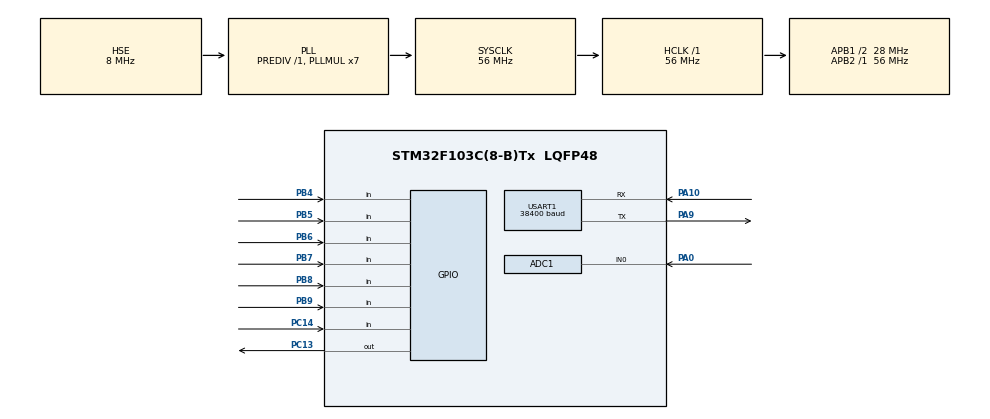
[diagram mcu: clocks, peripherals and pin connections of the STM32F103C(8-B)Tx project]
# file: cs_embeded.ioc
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ADC1.Channel-0\#ChannelRegularConversion=ADC_CHANNEL_0
ADC1.ContinuousConvMode=DISABLE
ADC1.EnableInjectedConversion=ENABLE
ADC1.InjNumberOfConversion=0
ADC1.NbrOfConversionFlag=1
ADC1.Rank-0\#ChannelRegularConversion=1
ADC1.SamplingTime-0\#ChannelRegularConversion=ADC_SAMPLETIME_55CYCLES_5
ADC1.master=1
Dma.Request0=USART1_RX
Dma.Request1=USART1_TX
Dma.USART1_RX.0.Direction=DMA_PERIPH_TO_MEMORY
Dma.USART1_RX.0.Instance=DMA1_Channel5
Dma.USART1_RX.0.MemDataAlignment=DMA_MDATAALIGN_BYTE
Dma.USART1_RX.0.MemInc=DMA_MINC_ENABLE
Dma.USART1_RX.0.Mode=DMA_NORMAL
Dma.USART1_RX.0.PeriphDataAlignment=DMA_PDATAALIGN_BYTE
Dma.USART1_RX.0.PeriphInc=DMA_PINC_DISABLE
Dma.USART1_RX.0.Priority=DMA_PRIORITY_LOW
Dma.USART1_TX.1.Direction=DMA_MEMORY_TO_PERIPH
Dma.USART1_TX.1.Instance=DMA1_Channel4
Dma.USART1_TX.1.MemDataAlignment=DMA_MDATAALIGN_BYTE
Dma.USART1_TX.1.MemInc=DMA_MINC_ENABLE
Dma.USART1_TX.1.Mode=DMA_NORMAL
Dma.USART1_TX.1.PeriphDataAlignment=DMA_PDATAALIGN_BYTE
Dma.USART1_TX.1.PeriphInc=DMA_PINC_DISABLE
Dma.USART1_TX.1.Priority=DMA_PRIORITY_LOW
Mcu.Family=STM32F1
Mcu.Name=STM32F103C(8-B)Tx
Mcu.Package=LQFP48
NVIC.DMA1_Channel4_IRQn=true\:0\:0\:false\:false\:true\:false\:true
NVIC.DMA1_Channel5_IRQn=true\:0\:0\:false\:false\:true\:false\:true
NVIC.PriorityGroup=NVIC_PRIORITYGROUP_4
NVIC.TIM3_IRQn=true\:0\:0\:false\:false\:true\:true\:true
NVIC.TIM4_IRQn=true\:0\:0\:false\:false\:true\:false\:true
NVIC.TimeBase=TIM4_IRQn
NVIC.TimeBaseIP=TIM4
NVIC.USART1_IRQn=true\:0\:0\:false\:false\:true\:true\:true
PA0-WKUP.Signal=ADCx_IN0
PA10.Mode=Asynchronous
PA10.Signal=USART1_RX
PA13.Mode=Serial_Wire
PA13.Signal=SYS_JTMS-SWDIO
PA14.Mode=Serial_Wire
PA14.Signal=SYS_JTCK-SWCLK
PA9.Mode=Asynchronous
PA9.Signal=USART1_TX
PB4.Signal=GPIO_Input
PB5.Signal=GPIO_Input
PB6.Signal=GPIO_Input
PB7.Signal=GPIO_Input
PB8.Signal=GPIO_Input
PB9.Signal=GPIO_Input
PC13-TAMPER-RTC.Signal=GPIO_Output
PC14-OSC32_IN.Signal=GPIO_Input
PD0-OSC_IN.Mode=HSE-External-Oscillator
PD0-OSC_IN.Signal=RCC_OSC_IN
PD1-OSC_OUT.Mode=HSE-External-Oscillator
PD1-OSC_OUT.Signal=RCC_OSC_OUT
ProjectManager.HeapSize=0x800
ProjectManager.StackSize=0x800
ProjectManager.TargetToolchain=MDK-ARM V5.27
RCC.ADCPresc=RCC_ADCPCLK2_DIV4
RCC.AHBFreq_Value=56000000
RCC.APB1CLKDivider=RCC_HCLK_DIV2
RCC.APB1Freq_Value=28000000
RCC.APB1TimFreq_Value=56000000
RCC.APB2Freq_Value=56000000
RCC.APB2TimFreq_Value=56000000
RCC.HCLKFreq_Value=56000000
RCC.PLLMUL=RCC_PLL_MUL7
RCC.PLLSourceVirtual=RCC_PLLSOURCE_HSE
RCC.SYSCLKFreq_VALUE=56000000
RCC.SYSCLKSource=RCC_SYSCLKSOURCE_PLLCLK
RCC.USBFreq_Value=56000000
SH.ADCx_IN0.0=ADC1_IN0,IN0
TIM3.Period=65535
TIM3.Prescaler=71
USART1.BaudRate=38400
USART1.VirtualMode=VM_ASYNC
VP_SYS_VS_tim4.Mode=TIM4
VP_TIM3_VS_ClockSourceINT.Mode=Internal
board=custom

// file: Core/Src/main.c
/* USER CODE BEGIN Header */
/**
  ******************************************************************************
  * @file           : main.c
  * @brief          : Main program body
  ******************************************************************************
  * @attention
  *
  * <h2><center>&copy; Copyright (c) 2021 STMicroelectronics.
  * All rights reserved.</center></h2>
  *
  * This software component is licensed by ST under Ultimate Liberty license
  * SLA0044, the "License"; You may not use this file except in compliance with
  * the License. You may obtain a copy of the License at:
  *                             www.st.com/SLA0044
  *
  ******************************************************************************
  */
/* USER CODE END Header */

#include "main.h"
#include "adc.h"
#include "dma.h"
#include "tim.h"
#include "usart.h"
#include "gpio.h"

/* USER CODE BEGIN Includes */
#include "System_Config.h"
#include "drv_timer.h"
#include "drv_imu.h"
#include "drv_iic.h"
#include "inv_mpu.h"
#include <stdio.h>
#include "string.h"
#include "mahony_ahrs.h"
/* USER CODE END Includes */

/* USER CODE BEGIN PTD */
#ifdef __GNUC__
/* With GCC/RAISONANCE, small printf (option LD Linker->Libraries->Small printf
set to 'Yes') calls __io_putchar() */
#define PUTCHAR_PROTOTYPE int __io_putchar(int ch)
#else
#define PUTCHAR_PROTOTYPE int fputc(int ch, FILE *f)
#endif /* __GNUC__ */
extern "C"
{
PUTCHAR_PROTOTYPE
{
    /* Place your implementation of fputc here */
    /* e.g. write a character to the EVAL_COM1 and Loop until the end of transmission */
    HAL_UART_Transmit(&huart1, (uint8_t *)&ch, 1, 0xFFFF);

    return ch;
}
}
typedef struct
{
	uint32_t adc_now;//使用0.5指数形滤波方式
	uint32_t adc_tmp[5];//使用0.5指数形滤波方式
	uint32_t adc_sum;//使用0.5指数形滤波方式
	uint8_t  point;
	float adc_out;
}adc_module;
void mpu_get(gyro_module *aim_gyro);
float adc_update(adc_module* aimadc,uint32_t adc_value);

/* USER CODE END PTD */

/* USER CODE BEGIN PD */
#define LED_TURN HAL_GPIO_TogglePin(GPIOC,GPIO_PIN_13)
#define LED_OFF HAL_GPIO_WritePin(GPIOC,GPIO_PIN_13,GPIO_PIN_SET)
#define LED_ON HAL_GPIO_WritePin(GPIOC,GPIO_PIN_13,GPIO_PIN_RESET)
/* USER CODE END PD */

/* USER CODE BEGIN PM */
//时钟
#define gyro_count 30
#define button_count 5
#define adc_count 1
#define send_count 20

uint32_t gyrotimer=0;
uint32_t sendtimer=0;
uint32_t buttontimer=0;
uint32_t adctimer=0;

//串口发送数据
uint8_t send_buff[50];

//按键情况
uint8_t keystate=0;
uint8_t key0,key1,key2,key3,key4;

//adc电压值
uint32_t adc_value=0;

adc_module aimadc;

float adc_out=0;//使用0.5指数形滤波方式

/* USER CODE END PM */

void SystemClock_Config(void);

float tm1;
float tm2;
float tm3;
int main(void)
{

  /* MCU Configuration--------------------------------------------------------*/

  /* Reset of all peripherals, Initializes the Flash interface and the Systick. */
  HAL_Init();

  /* Configure the system clock */
  SystemClock_Config();

  /* Initialize all configured peripherals */
  MX_GPIO_Init();
  MX_DMA_Init();
  MX_USART1_UART_Init();
  MX_TIM3_Init();
  MX_ADC1_Init();
  /* USER CODE BEGIN 2 */
  LED_OFF;
  board_config();
  gyrotimer=Get_SystemTimer();
  buttontimer=Get_SystemTimer();
  sendtimer=Get_SystemTimer();
  adctimer=Get_SystemTimer();
  LED_ON;
  /* USER CODE END 2 */

  /* Infinite loop */
  while (1)
  {

    /* USER CODE BEGIN 3 */
	//HAL_UART_Transmit(&huart1,&data,1,0xff);
	//陀螺仪任务
	if(microsecond()>=gyrotimer)
	{
		gyrotimer=microsecond()+gyro_count*1000;
		mpu_get(&head);
		mpu_get(&rhand);
		mpu_get(&lhand);
	}
	//按键检测任务
	if(microsecond()>=buttontimer)
	{
		buttontimer=microsecond()+button_count*1000;
		key0=HAL_GPIO_ReadPin(GPIOB,GPIO_PIN_4);
		key1=HAL_GPIO_ReadPin(GPIOB,GPIO_PIN_5)<<1;
		key2=HAL_GPIO_ReadPin(GPIOB,GPIO_PIN_6)<<2;
		key3=HAL_GPIO_ReadPin(GPIOB,GPIO_PIN_7)<<3;
		key4=HAL_GPIO_ReadPin(GPIOB,GPIO_PIN_9)<<4;
		keystate=key0+key1+key2+key3+key4;
	}
	//蓝牙发送任务，5ms为任务周期
	if(microsecond()>=sendtimer)
	{
		sendtimer=microsecond()+send_count*1000;
		memcpy(&send_buff[0],&head.pitch,12); //头三轴俯仰，横滚，航向，float型各两个字节，下同
		memcpy(&send_buff[12],&rhand.pitch,12);//右手三轴
		memcpy(&send_buff[24],&lhand.pitch,12);//左手三轴

		memcpy(&send_buff[36],&keystate,1);//上拉按键状态，一个字节，按下对应位为0低电平，否则为1高电平，
		//第0位到第4位对应B4-B8，其中B8是开枪，456按顺序向下排列，7为狙击键（鼠标左键）
		memcpy(&send_buff[37],&adc_out,4);//弯曲传感器，float型两个字节
		send_buff[41]=222;//包尾为222
		HAL_UART_Transmit_DMA(&huart1,send_buff,42);//一个包传输42个字节
		//printf("hello world\n");//可使用printf进行调试
		//HAL_UART_Transmit_DMA(&huart1,&keystate,1);//一个包传输42个字节
	}
	//adc读取任务
	if(microsecond()>=adctimer)
	{
		adctimer=microsecond()+adc_count*1000;
		HAL_ADC_Start(&hadc1);
        HAL_ADC_PollForConversion(&hadc1, 10);    //等待转换完成，第二个参数表示超时时间，单位ms
        if(HAL_IS_BIT_SET(HAL_ADC_GetState(&hadc1), HAL_ADC_STATE_REG_EOC))
        {
			adc_value=HAL_ADC_GetValue(&hadc1);
			adc_out=adc_update(&aimadc,adc_value);
        }
	}
  }
  /* USER CODE END 3 */
}

void SystemClock_Config(void)
{
  RCC_OscInitTypeDef RCC_OscInitStruct = {0};
  RCC_ClkInitTypeDef RCC_ClkInitStruct = {0};
  RCC_PeriphCLKInitTypeDef PeriphClkInit = {0};

  /** Initializes the CPU, AHB and APB busses clocks
  */
  RCC_OscInitStruct.OscillatorType = RCC_OSCILLATORTYPE_HSE;
  RCC_OscInitStruct.HSEState = RCC_HSE_ON;
  RCC_OscInitStruct.HSEPredivValue = RCC_HSE_PREDIV_DIV1;
  RCC_OscInitStruct.HSIState = RCC_HSI_ON;
  RCC_OscInitStruct.PLL.PLLState = RCC_PLL_ON;
  RCC_OscInitStruct.PLL.PLLSource = RCC_PLLSOURCE_HSE;
  RCC_OscInitStruct.PLL.PLLMUL = RCC_PLL_MUL7;
  if (HAL_RCC_OscConfig(&RCC_OscInitStruct) != HAL_OK)
  {
    Error_Handler();
  }
  /** Initializes the CPU, AHB and APB busses clocks
  */
  RCC_ClkInitStruct.ClockType = RCC_CLOCKTYPE_HCLK|RCC_CLOCKTYPE_SYSCLK
                              |RCC_CLOCKTYPE_PCLK1|RCC_CLOCKTYPE_PCLK2;
  RCC_ClkInitStruct.SYSCLKSource = RCC_SYSCLKSOURCE_PLLCLK;
  RCC_ClkInitStruct.AHBCLKDivider = RCC_SYSCLK_DIV1;
  RCC_ClkInitStruct.APB1CLKDivider = RCC_HCLK_DIV2;
  RCC_ClkInitStruct.APB2CLKDivider = RCC_HCLK_DIV1;

  if (HAL_RCC_ClockConfig(&RCC_ClkInitStruct, FLASH_LATENCY_2) != HAL_OK)
  {
    Error_Handler();
  }
  PeriphClkInit.PeriphClockSelection = RCC_PERIPHCLK_ADC;
  PeriphClkInit.AdcClockSelection = RCC_ADCPCLK2_DIV4;
  if (HAL_RCCEx_PeriphCLKConfig(&PeriphClkInit) != HAL_OK)
  {
    Error_Handler();
  }
}

/* USER CODE BEGIN 4 */
/**
  * @brief   Get mpu
	* @param   float gyro_x,gyro_y,gyro_z,angle_x,angle_y,angle_z;
  * @retval  void
  */
void mpu_get(gyro_module* aim_gyro)
{
	SDA_GPIOx=aim_gyro->Gpio_Sda;
	SDA_PIN=aim_gyro->Pin_Sda;
	SCL_GPIOx=aim_gyro->Gpio_Scl;
	SCL_PIN=aim_gyro->Pin_scl;
    uint8_t buf[14];
    if(IIC_MPU6050_Read_Len(MPU_ADDR,MPU_GYRO_XOUTH_REG,6,buf)==0)
        //缩短时间，不解算姿态的情况下只获取所需的陀螺仪GYO3轴数据
    {
//如果要加速度值需要换寄存器

        MPU6050.gx = (int16_t)(((buf[0]<<8) | buf[1])) ;//- MPU6050.gx_offset);
        MPU6050.gy = (int16_t)(((buf[2]<<8) | buf[3])) ;//- MPU6050.gy_offset);
        MPU6050.gz = (int16_t)(((buf[4]<<8) | buf[5])) ;//- MPU6050.gz_offset);

    }
    aim_gyro->gyro_x = MPU6050.gx / 32768.0f * 2000;//2000dps->rad/s
    aim_gyro->gyro_y = MPU6050.gy / 32768.0f * 2000;
    aim_gyro->gyro_z = MPU6050.gz / 32768.0f * 2000;
	mpu_dmp_get_data(&(aim_gyro->pitch),&(aim_gyro->roll),&(aim_gyro->yaw));
}

float adc_update(adc_module* aimadc,uint32_t adc_value)
{
	uint8_t point=aimadc->point;
	aimadc->adc_now=adc_value; //更新adc值
	aimadc->adc_sum = aimadc->adc_sum - aimadc->adc_tmp[point];//剔除历史末端
	aimadc->adc_tmp[point]=adc_value; //末端变成首部赋予新值
	aimadc->adc_sum = aimadc->adc_sum + aimadc->adc_tmp[point];//添加新值
	aimadc->adc_out =((float)aimadc->adc_sum/5)/4096*3.3;//为归一化.3.3化了;
	point++;
	if(point==5)point=0;
	aimadc->point=point;
	return aimadc->adc_out;
}
/* USER CODE END 4 */

 /**
  * @brief  Period elapsed callback in non blocking mode
  * @note   This function is called  when TIM4 interrupt took place, inside
  * HAL_TIM_IRQHandler(). It makes a direct call to HAL_IncTick() to increment
  * a global variable "uwTick" used as application time base.
  * @param  htim : TIM handle
  * @retval None
  */
void HAL_TIM_PeriodElapsedCallback(TIM_HandleTypeDef *htim)
{
  if (htim->Instance == TIM4) {
    HAL_IncTick();
  }
}

void Error_Handler(void)
{
}

/************************ (C) COPYRIGHT STMicroelectronics *****END OF FILE****/
